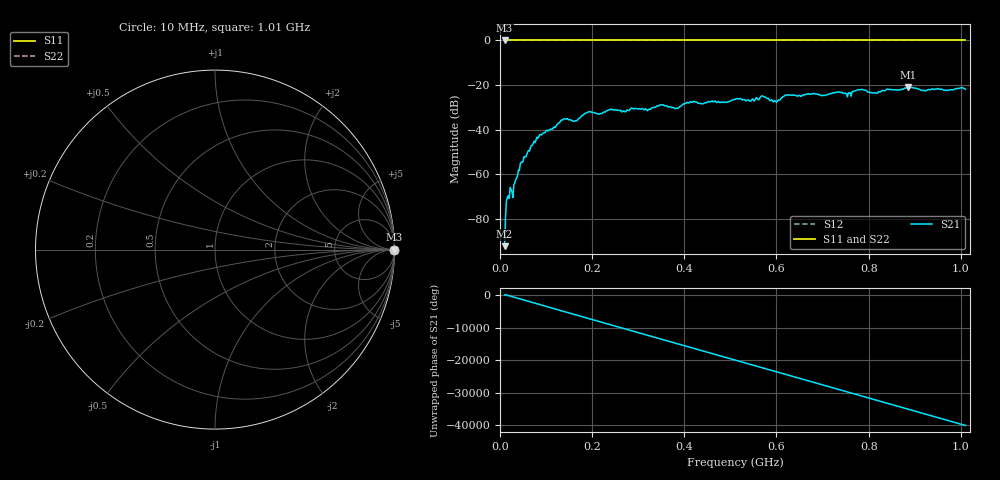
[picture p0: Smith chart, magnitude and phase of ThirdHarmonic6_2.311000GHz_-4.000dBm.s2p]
! 8/17/2025 3:12:25 AM
! C:\ANRITSUVNA\TEMP\TEMP.S2P
! CHANNEL.1
! TR.MEASUREMENT
! RAW.DATA
! RF.CORRECTION.OFF
! AVERAGING.OFF
! IF.BANDWIDTH: 5KHZ
! SWEEPTYPE:  FREQ.SWEEP(Linear)
! Reference Plane Port Info
! PORT:  PORT1  PORT2
! DISTANCE:  0  m  0  m
! TIME:  0  s  0  s
! PHASE.OFFSET:  0  deg.  0  deg.
! LOSS:  0  dB  0  dB
! REF.LOSS:  0  dB  0  dB
! REF.FREQ:  0  Hz  0  Hz
! Power Info
! POWER:  -20  dBm  -20  dBm
! EFF.POWER:  -20  dBm  -20  dBm
! SOURCE.ATTEN:  0  dB  0  dB
! TEST.ATTEN:  0  dB  0  dB
# GHZ S RI R 50.0
! FREQ.GHZ  S11RE  S11IM  S21RE  S21IM  S12RE  S12IM  S22RE  S22IM
!; PortSelection: Port_12
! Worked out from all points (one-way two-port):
!   501 points, 10 MHz to 1.01 GHz, reference 50 ohm
!   highest |S21| = -20.96 dB at 886 MHz (marker M1); lowest = -92.2 dB at 10 MHz (marker M2)
!   lowest |S11| = 0.0 dB at 10 MHz (marker M3)
!   |S11| at or under -10 dB: nowhere
!   |S22| runs from 0.0 to 0.0 dB; largest |S21 - S12| = 1.1
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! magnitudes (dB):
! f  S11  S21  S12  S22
! 10 MHz  0.0  -92.2  0.0  0.0
! 18 MHz  0.0  -69.6  0.0  0.0
! 30 MHz  0.0  -64.7  0.0  0.0
! 48 MHz  0.0  -54.7  0.0  0.0
! 76 MHz  0.0  -45.8  0.0  0.0
! 136 MHz  0.0  -35.7  0.0  0.0
! 162 MHz  0.0  -36.2  0.0  0.0
! 178 MHz  0.0  -33.6  0.0  0.0
! 194 MHz  0.0  -31.9  0.0  0.0
! 322 MHz  0.0  -31.0  0.0  0.0
! 344 MHz  0.0  -29.4  0.0  0.0
! 384 MHz  0.0  -30.4  0.0  0.0
! 416 MHz  0.0  -27.7  0.0  0.0
! 510 MHz  0.0  -26.4  0.0  0.0
! 548 MHz  0.0  -26.2  0.0  0.0
! 570 MHz  0.0  -24.9  0.0  0.0
! 596 MHz  0.0  -27.0  0.0  0.0
! 622 MHz  0.0  -24.5  0.0  0.0
! 678 MHz  0.0  -23.9  0.0  0.0
! 844 MHz  0.0  -22.0  0.0  0.0
! 886 MHz  0.0  -21.0  0.0  0.0
! 1.01 GHz  0.0  -21.8  0.0  0.0
